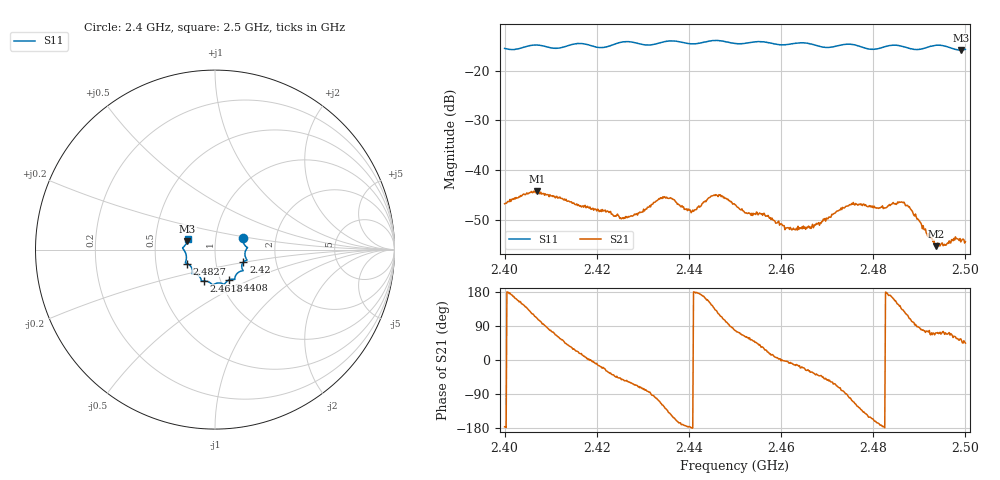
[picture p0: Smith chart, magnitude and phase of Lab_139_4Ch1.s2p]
# Hz S RI R 50
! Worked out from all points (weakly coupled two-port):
!   601 points, 2.4 GHz to 2.5 GHz, reference 50 ohm
!   highest |S21| = -44.26 dB at 2.407 GHz (marker M1); lowest = -55.3 dB at 2.4937 GHz (marker M2)
!   lowest |S11| = -15.8 dB at 2.499 GHz (marker M3), VSWR 1.39, Z = 36.5 + j3.53 ohm
!   |S11| at or under -10 dB: start of sweep to end of sweep
!   S12 and S22 are empty: the file has one direction only
!   S11 on the Smith chart (normalised r, x): 2.4 GHz: 1.36, +0.17; 2.42 GHz: 1.36, -0.19; 2.4408 GHz: 1.10, -0.38; 2.4618 GHz: 0.84, -0.30; 2.4827 GHz: 0.72, -0.12; 2.5 GHz: 0.73, +0.09
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2.4e9  0.156 0.0619  -0.00457 -0.000298  0 0  0 0
2.407e9  0.1813 0.0108  -0.00217 0.00573  0 0  0 0
2.411167e9  0.1669 -0.0197  0.00224 0.00494  0 0  0 0
2.416667e9  0.1783 -0.0591  0.00406 0.00124  0 0  0 0
2.42e9  0.1583 -0.0692  0.00383 -0.000584  0 0  0 0
2.425667e9  0.1565 -0.1162  0.00205 -0.00261  0 0  0 0
2.429333e9  0.142 -0.121  0.00109 -0.00361  0 0  0 0
2.433333e9  0.1119 -0.1521  -0.00136 -0.00484  0 0  0 0
2.436333e9  0.1102 -0.1665  -0.00437 -0.00276  0 0  0 0
2.440833e9  0.079 -0.1688  -0.00395 -5.43e-05  0 0  0 0
2.4455e9  0.0523 -0.1946  -0.00406 0.00386  0 0  0 0
2.45e9  0.0278 -0.186  0.000937 0.00438  0 0  0 0
2.461833e9  -0.0601 -0.175  0.0025 -0.000373  0 0  0 0
2.466667e9  -0.0769 -0.1684  0.00229 -0.00141  0 0  0 0
2.475167e9  -0.1269 -0.1343  -0.000995 -0.00436  0 0  0 0
2.479667e9  -0.1325 -0.0971  -0.00382 -0.00183  0 0  0 0
2.482667e9  -0.1571 -0.0778  -0.00416 5.1e-05  0 0  0 0
2.483333e9  -0.1613 -0.0764  -0.0043 0.000737  0 0  0 0
2.487167e9  -0.1609 -0.0592  -0.00226 0.00374  0 0  0 0
2.493667e9  -0.1804 0.00708  0.000537 0.00163  0 0  0 0
2.499e9  -0.1545 0.0471  0.00106 0.00157  0 0  0 0
2.5e9  -0.1521 0.0618  0.00136 0.00134  0 0  0 0
